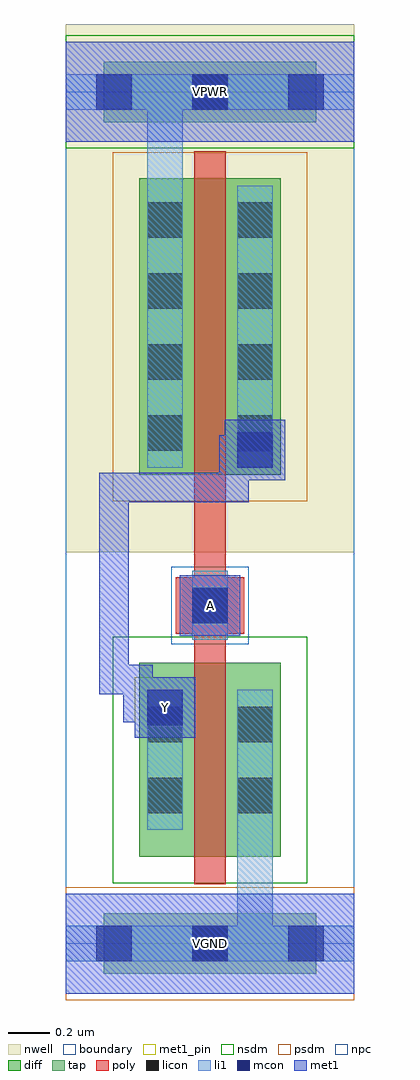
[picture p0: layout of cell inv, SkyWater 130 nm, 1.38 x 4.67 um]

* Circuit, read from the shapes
.subckt inv A VGND VPWR Y
XM1 VGND A Y VGND sky130_fd_pr__nfet_01v8 w=0.93 l=0.15
XM2 Y A VPWR VPWR sky130_fd_pr__pfet_01v8 w=1.42 l=0.15
.ends

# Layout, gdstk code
import gdstk
lib = gdstk.Library(unit=1e-6, precision=1e-09)
def R(c, l, rs):  # rectangles x0, y0, x1, y1
    for r in rs: c.add(gdstk.rectangle(r[:2], r[2:], *l))
def A(c, l, x, y, w, h, nx, ny, dx, dy):  # array of equal rectangles
    R(c, l, [(x+i*dx, y+j*dy, x+i*dx+w, y+j*dy+h) for i in range(nx) for j in range(ny)])
nwell = (64, 20)
diff = (65, 20)
tap = (65, 44)
poly = (66, 20)
licon = (66, 44)
li1 = (67, 20)
mcon = (67, 44)
met1_pin = (68, 16)
met1 = (68, 20)
nsdm = (93, 44)
psdm = (94, 20)
npc = (95, 20)
boundary = (235, 4)

inv = lib.new_cell('inv')
R(inv, nwell, [(0,1.875,1.38,4.405)])
R(inv, diff, [(0.35,0.415,1.03,1.345), (0.35,2.245,1.03,3.665)])
R(inv, tap, [(0.18,-0.145,1.2,0.145), (0.18,3.935,1.2,4.225)])
R(inv, poly, [(0.615,0.285,0.765,3.795), (0.525,1.485,0.855,1.755)])
A(inv, licon, 0.39, 2.36, 0.17, 0.17, 1, 4, 0, 0.34)
A(inv, licon, 0.82, 2.36, 0.17, 0.17, 1, 4, 0, 0.34)
R(inv, licon, [(0.605,-0.085,0.775,0.085), (0.39,0.625,0.56,0.795), (0.82,0.625,0.99,0.795), (0.39,0.965,0.56,1.135), (0.82,0.965,0.99,1.135), (0.605,1.535,0.775,1.705), (0.605,3.995,0.775,4.165)])
R(inv, li1, [(0,-0.085,1.38,0.085), (0.82,-0.085,0.99,1.215), (0.39,0.545,0.56,1.215), (0.82,0.545,0.99,1.215), (0.605,1.455,0.775,1.785), (0.39,2.28,0.56,3.63), (0.39,2.28,0.56,4.165), (0.82,2.28,0.99,3.63), (0,3.995,1.38,4.165)])
A(inv, mcon, 0.145, -0.085, 0.17, 0.17, 3, 2, 0.46, 4.08)
R(inv, mcon, [(0.39,1.045,0.56,1.215), (0.605,1.535,0.775,1.705), (0.82,2.28,0.99,2.45)])
R(inv, met1_pin, [(0,-0.24,1.38,0.24), (0.33,0.985,0.62,1.275), (0.545,1.475,0.835,1.765), (0,3.84,1.38,4.32)])
R(inv, met1, [(0,-0.24,1.38,0.24), (0.33,0.985,0.62,1.275), (0.275,1.06,0.545,1.2), (0.275,1.06,0.415,1.335), (0.16,1.195,0.415,1.335), (0.16,1.195,0.3,2.255), (0.545,1.475,0.835,1.765), (0.16,2.115,0.875,2.255), (0.735,2.115,0.875,2.435), (0.76,2.22,1.05,2.51), (0.735,2.295,0.975,2.435), (0,3.84,1.38,4.32)])
R(inv, nsdm, [(0.225,0.29,1.155,1.47), (0,3.81,1.38,4.35)])
R(inv, psdm, [(0,-0.27,1.38,0.27), (0.225,2.12,1.155,3.79)])
R(inv, npc, [(0.505,1.435,0.875,1.805)])
R(inv, boundary, [(0,0,1.38,4.08)])
inv.add(gdstk.Label('A', (0.69,1.62), layer=68, texttype=5))
inv.add(gdstk.Label('Y', (0.475,1.13), layer=68, texttype=5))
inv.add(gdstk.Label('VPWR', (0.69,4.08), layer=68, texttype=5))
inv.add(gdstk.Label('VGND', (0.69,0), layer=68, texttype=5))
inv.add(gdstk.Label('A', (0.69,1.62), layer=68, texttype=16))
inv.add(gdstk.Label('Y', (0.475,1.13), layer=68, texttype=16))
inv.add(gdstk.Label('VPWR', (0.69,4.08), layer=68, texttype=16))
inv.add(gdstk.Label('VGND', (0.69,0), layer=68, texttype=16))

lib.write_gds('inv.gds')
